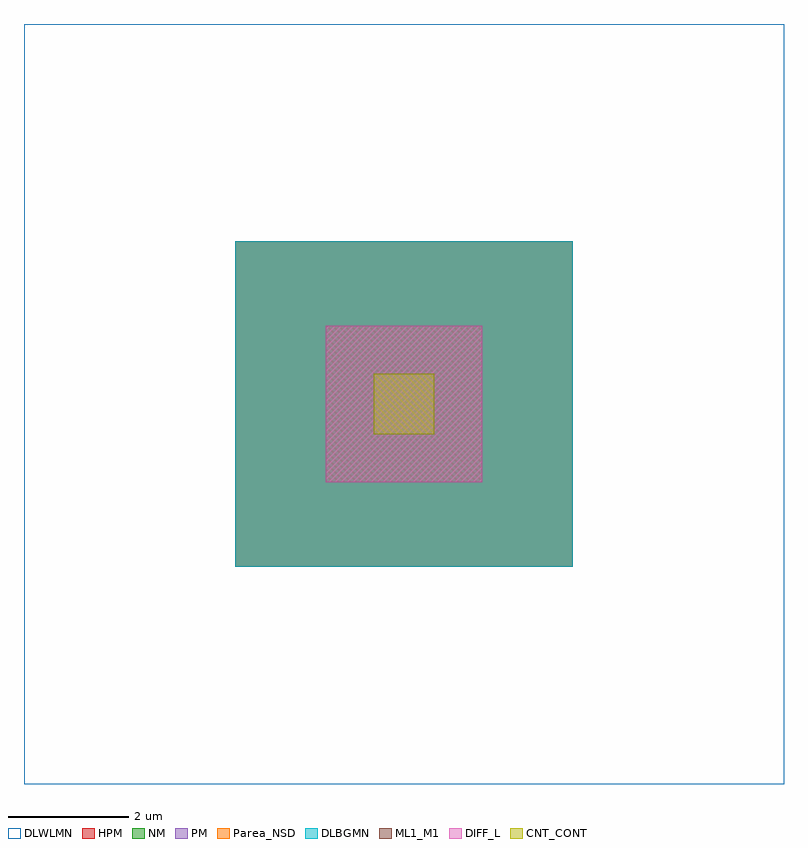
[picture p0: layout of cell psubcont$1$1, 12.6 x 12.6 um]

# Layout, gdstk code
import gdstk
lib = gdstk.Library(unit=1e-6, precision=1e-07)
def R(c, l, rs):  # rectangles x0, y0, x1, y1
    for r in rs: c.add(gdstk.rectangle(r[:2], r[2:], *l))
DIFF_L = (3, 0)
NM = (7, 0)
CNT_CONT = (11, 0)
ML1_M1 = (13, 0)
Parea_NSD = (28, 0)
HPM = (33, 0)
PM = (35, 0)
DLWLMN = (151, 0)
DLBGMN = (178, 0)

dcont_1_1 = lib.new_cell('DCONT$1$1')
R(dcont_1_1, DIFF_L, [(-1.3,-1.3,1.3,1.3)])
R(dcont_1_1, CNT_CONT, [(-0.5,-0.5,0.5,0.5)])
R(dcont_1_1, ML1_M1, [(-1.3,-1.3,1.3,1.3), (-0.5,-0.5,0.5,0.5)])

psubcont_1_1 = lib.new_cell('psubcont$1$1')
R(psubcont_1_1, NM, [(-2.8,-2.7,2.8,2.7)])
R(psubcont_1_1, Parea_NSD, [(-2.8,-2.7,2.8,2.7)])
R(psubcont_1_1, HPM, [(-2.8,-2.7,2.8,2.7)])
R(psubcont_1_1, PM, [(-2.8,-2.7,2.8,2.7)])
R(psubcont_1_1, DLWLMN, [(-6.3,-6.3,6.3,6.3)])
R(psubcont_1_1, DLBGMN, [(-2.8,-2.7,2.8,2.7)])
psubcont_1_1.add(gdstk.Reference(dcont_1_1, (0,0)))

lib.write_gds('psubcont_1_1.gds')
